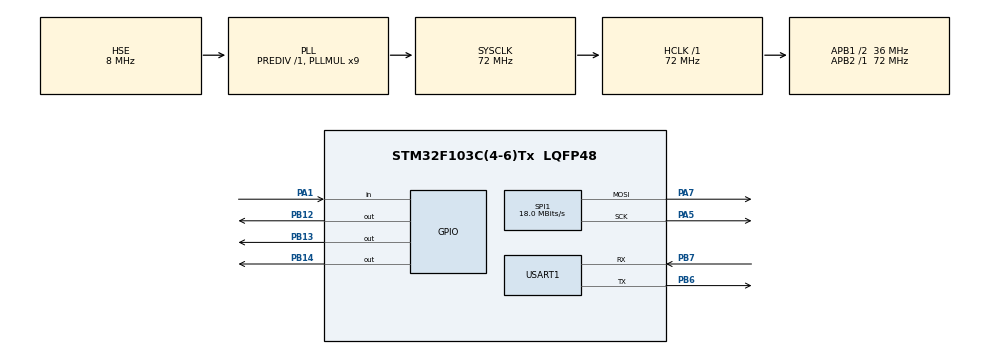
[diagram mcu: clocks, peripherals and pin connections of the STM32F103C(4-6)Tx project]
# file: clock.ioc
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Mcu.Family=STM32F1
Mcu.Name=STM32F103C(4-6)Tx
Mcu.Package=LQFP48
NVIC.PriorityGroup=NVIC_PRIORITYGROUP_4
PA1.Signal=GPIO_Input
PA5.Mode=TX_Only_Simplex_Unidirect_Master
PA5.Signal=SPI1_SCK
PA7.Mode=TX_Only_Simplex_Unidirect_Master
PA7.Signal=SPI1_MOSI
PB12.Signal=GPIO_Output
PB13.Signal=GPIO_Output
PB14.Signal=GPIO_Output
PB6.Mode=Asynchronous
PB6.Signal=USART1_TX
PB7.Mode=Asynchronous
PB7.Signal=USART1_RX
PD0-OSC_IN.Mode=HSE-External-Oscillator
PD0-OSC_IN.Signal=RCC_OSC_IN
PD1-OSC_OUT.Mode=HSE-External-Oscillator
PD1-OSC_OUT.Signal=RCC_OSC_OUT
ProjectManager.HeapSize=0x2000
ProjectManager.StackSize=0x4000
ProjectManager.TargetToolchain=STM32CubeIDE
RCC.AHBFreq_Value=72000000
RCC.APB1CLKDivider=RCC_HCLK_DIV2
RCC.APB1Freq_Value=36000000
RCC.APB1TimFreq_Value=72000000
RCC.APB2Freq_Value=72000000
RCC.APB2TimFreq_Value=72000000
RCC.HCLKFreq_Value=72000000
RCC.PLLMUL=RCC_PLL_MUL9
RCC.PLLSourceVirtual=RCC_PLLSOURCE_HSE
RCC.SYSCLKFreq_VALUE=72000000
RCC.SYSCLKSource=RCC_SYSCLKSOURCE_PLLCLK
RCC.USBFreq_Value=72000000
SPI1.BaudRatePrescaler=SPI_BAUDRATEPRESCALER_4
SPI1.CalculateBaudRate=18.0 MBits/s
SPI1.Direction=SPI_DIRECTION_2LINES
SPI1.Mode=SPI_MODE_MASTER
SPI1.VirtualType=VM_MASTER
USART1.VirtualMode=VM_ASYNC
VP_RTC_VS_RTC_Activate.Mode=RTC_Enabled
VP_RTC_VS_RTC_Calendar.Mode=RTC_Calendar
VP_SYS_VS_ND.Mode=No_Debug
board=custom

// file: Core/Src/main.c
/* USER CODE BEGIN Header */
/**
  ******************************************************************************
  * @file           : main.c
  * @brief          : Main program body
  ******************************************************************************
  * @attention
  *
  * Copyright (c) 2024 STMicroelectronics.
  * All rights reserved.
  *
  * This software is licensed under terms that can be found in the LICENSE file
  * in the root directory of this software component.
  * If no LICENSE file comes with this software, it is provided AS-IS.
  *
  ******************************************************************************
  */
/* USER CODE END Header */
#include "main.h"

/* USER CODE BEGIN Includes */
#include "fonts.h"
#include "ST7735.h"
#include <stdio.h>
#include <string.h>
/* USER CODE END Includes */

RTC_HandleTypeDef hrtc;
SPI_HandleTypeDef hspi1;
UART_HandleTypeDef huart1;

/* USER CODE BEGIN PV */
char time[30];
char date[30];
char uart_buf[30];
RTC_TimeTypeDef sTime;
RTC_DateTypeDef sDate;
/* USER CODE END PV */

void SystemClock_Config(void);
static void MX_GPIO_Init(void);
static void MX_SPI1_Init(void);
static void MX_RTC_Init(void);
static void MX_USART1_UART_Init(void);

/* USER CODE BEGIN 0 */

// State variable to check if the configuration is done
uint8_t configComplete = 0; // Configuration status

void demoTFT(char *time, char *date) {
    ST7735_DrawString(16, 41, time, Font_16x26, ST7735_BLACK, ST7735_YELLOW);
    ST7735_DrawString(16, 81, date, Font_16x26, ST7735_YELLOW, ST7735_BLACK);

}

// Function to update the date and time on the TFT screen and via UART
void updateDateTime() {
  HAL_RTC_GetDate(&hrtc, &sDate, RTC_FORMAT_BIN);
  HAL_RTC_GetTime(&hrtc, &sTime, RTC_FORMAT_BIN);
  sprintf(date,"%02d/%02d/%02d",sDate.Date,sDate.Month,sDate.Year);
  sprintf(time,"%02d:%02d:%02d",sTime.Hours,sTime.Minutes,sTime.Seconds);
  demoTFT(time, date);
}

// Function to validate the date
bool validateDate(RTC_DateTypeDef *date) {
    // Array with the number of days in each month
    uint8_t daysInMonth[] = {31, 28, 31, 30, 31, 30, 31, 31, 30, 31, 30, 31};

    // Validate month
    if (date->Month < 1 || date->Month > 12) {
        return false;
    }

    // Validate day
    if (date->Date < 1 || date->Date > daysInMonth[date->Month - 1]) {
        return false;
    }

    // The date is valid
    return true;
}

// Function to validate the time
bool validateTime(RTC_TimeTypeDef *time) {
    // Validate hours, minutes, and seconds
    if (time->Hours > 23 || time->Minutes > 59 || time->Seconds > 59) {
        return false;
    }

    // The time is valid
    return true;
}

// Function to check format of the input strings
bool checkInputFormat(const char *input, const char *format) {
    // Check for the correct length
    if (strlen(input) != strlen(format)) {
        return false;
    }

    for (size_t i = 0; i < strlen(format); i++) {
        if (format[i] == ':') {
            if (input[i] != ':') return false; // Expecting ':' in time
        } else if (format[i] == '/') {
            if (input[i] != '/') return false; // Expecting '/' in date
        } else if (!isdigit(input[i])) {
            return false; // Expecting a digit
        }
    }
    return true; // Format is correct
}

void Set_RTC_TimeAndDate(void) {
    RTC_TimeTypeDef sTime;
    RTC_DateTypeDef sDate;
    char uart_buf[50];  // Ensure this is appropriately sized for your messages

    while (1) {  // Loop until valid date and time are set
        // Get the time from UART
        const char *timePrompt = "Enter Time (HH:MM:SS): ";
        HAL_UART_Transmit(&huart1, (uint8_t *)timePrompt, strlen(timePrompt), HAL_MAX_DELAY);
        UART_ReceiveString(uart_buf, sizeof(uart_buf));  // Assuming uart_buf is defined

        // Validate the format of the input
        if (!checkInputFormat(uart_buf, "HH:MM:SS")) {
            const char *errorMsg = "Invalid time format. Please use HH:MM:SS\n\r";
            HAL_UART_Transmit(&huart1, (uint8_t *)errorMsg, strlen(errorMsg), HAL_MAX_DELAY);
            continue;  // Prompt for input again
        }

        // Parse the received time from uart_buf
        sTime.Hours = (uart_buf[0] - '0') * 10 + (uart_buf[1] - '0');
        sTime.Minutes = (uart_buf[3] - '0') * 10 + (uart_buf[4] - '0');
        sTime.Seconds = (uart_buf[6] - '0') * 10 + (uart_buf[7] - '0');

        // Prompt for date input
        const char *datePrompt = "Enter Date (DD/MM/YY): ";
        HAL_UART_Transmit(&huart1, (uint8_t *)datePrompt, strlen(datePrompt), HAL_MAX_DELAY);
        UART_ReceiveString(uart_buf, sizeof(uart_buf));  // Assuming uart_buf is defined

        // Validate the format of the input
        if (!checkInputFormat(uart_buf, "DD/MM/YY")) {
            const char *errorMsg = "Invalid date format. Please use DD/MM/YY\n\r";
            HAL_UART_Transmit(&huart1, (uint8_t *)errorMsg, strlen(errorMsg), HAL_MAX_DELAY);
            continue;  // Prompt for input again
        }

        // Parse the received date from uart_buf
        sDate.Date =  (uart_buf[0] - '0') * 10 +   (uart_buf[1] - '0');
        sDate.Month = (uart_buf[3] - '0') * 10 +   (uart_buf[4] - '0');
        sDate.Year =  (uart_buf[6] - '0') * 10 +   (uart_buf[7] - '0');  // Two-digit year

        // Validate date and time
        bool dateValid = validateDate(&sDate);
        bool timeValid = validateTime(&sTime);

        if (!dateValid || !timeValid) {
            const char *errorMsg = "Error in time or in date. Please try again.\n\r";
            HAL_UART_Transmit(&huart1, (uint8_t *)errorMsg, strlen(errorMsg), HAL_MAX_DELAY);
            continue;  // Prompt for input again
        }

        // If valid, set the time and date
        HAL_RTC_SetTime(&hrtc, &sTime, RTC_FORMAT_BIN);
        HAL_RTC_SetDate(&hrtc, &sDate, RTC_FORMAT_BIN);

        const char *successMsg = "RTC set successfully\n\r";
        HAL_UART_Transmit(&huart1, (uint8_t *)successMsg, strlen(successMsg), HAL_MAX_DELAY);
        sprintf(date,"Date: %02d/%02d/%02d \n\r",sDate.Date,sDate.Month,sDate.Year);
      	  sprintf(time,"time: %02d:%02d:%02d \n\r",sTime.Hours,sTime.Minutes,sTime.Seconds);
      	  HAL_UART_Transmit(&huart1, (uint8_t*)time, sizeof(time), 100);
      	  HAL_UART_Transmit(&huart1, (uint8_t*)date, sizeof(date), 100);
        break;  // Exit the loop since time and date are set successfully
    }
}

void UART_ReceiveString(char *buffer, uint16_t bufferSize) {
    uint16_t i = 0;
    char received;

    // Receive each character until '\r' is received or buffer is full
    while (i < bufferSize - 1) {
        HAL_UART_Receive(&huart1, (uint8_t *)&received, 1, HAL_MAX_DELAY);
        if (received == '\r') {  // End of input
            break;
        }
        buffer[i++] = received;
    }
    buffer[i] = '\0';  // Null-terminate the string
}

/* USER CODE END 0 */

int main(void)
{

  /* MCU Configuration--------------------------------------------------------*/

  /* Reset of all peripherals, Initializes the Flash interface and the Systick. */
  HAL_Init();

  /* Configure the system clock */
  SystemClock_Config();

  /* Initialize all configured peripherals */
  MX_GPIO_Init();
  MX_SPI1_Init();
  MX_RTC_Init();
  MX_USART1_UART_Init();
  /* USER CODE BEGIN 2 */

  ST7735_Init();
  ST7735_Backlight_On();

  uint8_t r = 1;
  ST7735_SetRotation(r);
  ST7735_FillRoundRect(1,1,160,128,2,ST7735_BLUE);

  // Draw borders
  for (int x = 0; x < ST7735_GetWidth(); x++) {
      ST7735_DrawPixel(x, 0, ST7735_BLACK);
      ST7735_DrawPixel(x, ST7735_GetHeight()-1 , ST7735_BLACK);
  }
  for (int y = 0; y < ST7735_GetHeight(); y++) {
      ST7735_DrawPixel(0, y, ST7735_BLACK);
      ST7735_DrawPixel(ST7735_GetWidth() -1, y, ST7735_BLACK);
  }

  ST7735_DrawString(10, 5, "CLOCK PROJECT", Font_11x18,  ST7735_BLACK , ST7735_BLUE);

  ST7735_FillRoundRect(15, 30, 130, 40,6, ST7735_YELLOW);
  ST7735_FillRoundRect(15, 70, 130, 40,6, ST7735_BLACK);
  ST7735_DrawString(5,115, "theembeddedthings.com",Font_7x10,ST7735_YELLOW ,ST7735_BLUE);

  Set_RTC_TimeAndDate();

  /* USER CODE END 2 */

  /* Infinite loop */
  while (1)
  {

    /* USER CODE BEGIN 3 */
	  updateDateTime();

  }
  /* USER CODE END 3 */
}

void SystemClock_Config(void)
{
  RCC_OscInitTypeDef RCC_OscInitStruct = {0};
  RCC_ClkInitTypeDef RCC_ClkInitStruct = {0};
  RCC_PeriphCLKInitTypeDef PeriphClkInit = {0};

  /** Initializes the RCC Oscillators according to the specified parameters
  * in the RCC_OscInitTypeDef structure.
  */
  RCC_OscInitStruct.OscillatorType = RCC_OSCILLATORTYPE_LSI|RCC_OSCILLATORTYPE_HSE;
  RCC_OscInitStruct.HSEState = RCC_HSE_ON;
  RCC_OscInitStruct.HSEPredivValue = RCC_HSE_PREDIV_DIV1;
  RCC_OscInitStruct.HSIState = RCC_HSI_ON;
  RCC_OscInitStruct.LSIState = RCC_LSI_ON;
  RCC_OscInitStruct.PLL.PLLState = RCC_PLL_ON;
  RCC_OscInitStruct.PLL.PLLSource = RCC_PLLSOURCE_HSE;
  RCC_OscInitStruct.PLL.PLLMUL = RCC_PLL_MUL9;
  if (HAL_RCC_OscConfig(&RCC_OscInitStruct) != HAL_OK)
  {
    Error_Handler();
  }

  /** Initializes the CPU, AHB and APB buses clocks
  */
  RCC_ClkInitStruct.ClockType = RCC_CLOCKTYPE_HCLK|RCC_CLOCKTYPE_SYSCLK
                              |RCC_CLOCKTYPE_PCLK1|RCC_CLOCKTYPE_PCLK2;
  RCC_ClkInitStruct.SYSCLKSource = RCC_SYSCLKSOURCE_PLLCLK;
  RCC_ClkInitStruct.AHBCLKDivider = RCC_SYSCLK_DIV1;
  RCC_ClkInitStruct.APB1CLKDivider = RCC_HCLK_DIV2;
  RCC_ClkInitStruct.APB2CLKDivider = RCC_HCLK_DIV1;

  if (HAL_RCC_ClockConfig(&RCC_ClkInitStruct, FLASH_LATENCY_2) != HAL_OK)
  {
    Error_Handler();
  }
  PeriphClkInit.PeriphClockSelection = RCC_PERIPHCLK_RTC;
  PeriphClkInit.RTCClockSelection = RCC_RTCCLKSOURCE_LSI;
  if (HAL_RCCEx_PeriphCLKConfig(&PeriphClkInit) != HAL_OK)
  {
    Error_Handler();
  }
}

static void MX_RTC_Init(void)
{

  RTC_TimeTypeDef sTime = {0};
  RTC_DateTypeDef DateToUpdate = {0};

  /** Initialize RTC Only
  */
  hrtc.Instance = RTC;
  hrtc.Init.AsynchPrediv = RTC_AUTO_1_SECOND;
  hrtc.Init.OutPut = RTC_OUTPUTSOURCE_ALARM;
  if (HAL_RTC_Init(&hrtc) != HAL_OK)
  {
    Error_Handler();
  }

  /** Initialize RTC and set the Time and Date
  */
  sTime.Hours = 0x0;
  sTime.Minutes = 0x0;
  sTime.Seconds = 0x0;

  if (HAL_RTC_SetTime(&hrtc, &sTime, RTC_FORMAT_BCD) != HAL_OK)
  {
    Error_Handler();
  }
  DateToUpdate.WeekDay = RTC_WEEKDAY_MONDAY;
  DateToUpdate.Month = RTC_MONTH_JANUARY;
  DateToUpdate.Date = 0x1;
  DateToUpdate.Year = 0x0;

  if (HAL_RTC_SetDate(&hrtc, &DateToUpdate, RTC_FORMAT_BCD) != HAL_OK)
  {
    Error_Handler();
  }

}

static void MX_SPI1_Init(void)
{

  /* SPI1 parameter configuration*/
  hspi1.Instance = SPI1;
  hspi1.Init.Mode = SPI_MODE_MASTER;
  hspi1.Init.Direction = SPI_DIRECTION_2LINES;
  hspi1.Init.DataSize = SPI_DATASIZE_8BIT;
  hspi1.Init.CLKPolarity = SPI_POLARITY_LOW;
  hspi1.Init.CLKPhase = SPI_PHASE_1EDGE;
  hspi1.Init.NSS = SPI_NSS_SOFT;
  hspi1.Init.BaudRatePrescaler = SPI_BAUDRATEPRESCALER_4;
  hspi1.Init.FirstBit = SPI_FIRSTBIT_MSB;
  hspi1.Init.TIMode = SPI_TIMODE_DISABLE;
  hspi1.Init.CRCCalculation = SPI_CRCCALCULATION_DISABLE;
  hspi1.Init.CRCPolynomial = 10;
  if (HAL_SPI_Init(&hspi1) != HAL_OK)
  {
    Error_Handler();
  }

}

static void MX_USART1_UART_Init(void)
{

  huart1.Instance = USART1;
  huart1.Init.BaudRate = 115200;
  huart1.Init.WordLength = UART_WORDLENGTH_8B;
  huart1.Init.StopBits = UART_STOPBITS_1;
  huart1.Init.Parity = UART_PARITY_NONE;
  huart1.Init.Mode = UART_MODE_TX_RX;
  huart1.Init.HwFlowCtl = UART_HWCONTROL_NONE;
  huart1.Init.OverSampling = UART_OVERSAMPLING_16;
  if (HAL_UART_Init(&huart1) != HAL_OK)
  {
    Error_Handler();
  }

}

static void MX_GPIO_Init(void)
{
  GPIO_InitTypeDef GPIO_InitStruct = {0};

  /* GPIO Ports Clock Enable */
  __HAL_RCC_GPIOD_CLK_ENABLE();
  __HAL_RCC_GPIOA_CLK_ENABLE();
  __HAL_RCC_GPIOB_CLK_ENABLE();

  /*Configure GPIO pin Output Level */
  HAL_GPIO_WritePin(GPIOB, GPIO_PIN_12|GPIO_PIN_13|GPIO_PIN_14, GPIO_PIN_RESET);

  /*Configure GPIO pin : PA1 */
  GPIO_InitStruct.Pin = GPIO_PIN_1;
  GPIO_InitStruct.Mode = GPIO_MODE_INPUT;
  GPIO_InitStruct.Pull = GPIO_NOPULL;
  HAL_GPIO_Init(GPIOA, &GPIO_InitStruct);

  /*Configure GPIO pins : PB12 PB13 PB14 */
  GPIO_InitStruct.Pin = GPIO_PIN_12|GPIO_PIN_13|GPIO_PIN_14;
  GPIO_InitStruct.Mode = GPIO_MODE_OUTPUT_PP;
  GPIO_InitStruct.Pull = GPIO_NOPULL;
  GPIO_InitStruct.Speed = GPIO_SPEED_FREQ_LOW;
  HAL_GPIO_Init(GPIOB, &GPIO_InitStruct);

}

void Error_Handler(void)
{
  __disable_irq();
  while (1)
  {
  }
}
